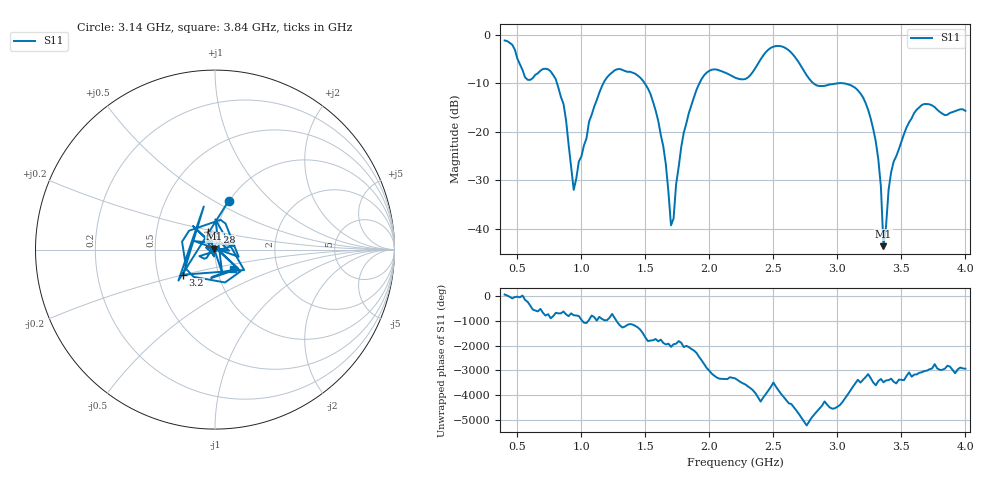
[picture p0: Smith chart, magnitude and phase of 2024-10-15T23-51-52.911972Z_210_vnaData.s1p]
! Created with skrf (http://scikit-rf.org).
# Hz S RI R 50.0
!freq ReS11 ImS11
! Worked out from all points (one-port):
!   181 points, 400 MHz to 4 GHz, reference 50 ohm
!   lowest |S11| = -43.6 dB at 3.36 GHz (marker M1), VSWR 1.01, Z = 49.7 + j0.573 ohm
!   |S11| at or under -10 dB: 809.2 MHz to 1.172 GHz (362.8 MHz wide, 36.6 % of centre); 1.494 GHz to 1.922 GHz (428.5 MHz wide, 25.1 % of centre); 3.037 GHz to end of sweep (the widest 3 of 4)
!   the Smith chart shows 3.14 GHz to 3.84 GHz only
!   S11 on the Smith chart (normalised r, x): 3.14 GHz: 0.99, +0.59; 3.2 GHz: 0.67, -0.20; 3.28 GHz: 0.91, +0.18; 3.84 GHz: 1.19, -0.27
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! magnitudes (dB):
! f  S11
! 400 MHz  -1.2
! 580 MHz  -9.3
! 760 MHz  -7.6
! 860 MHz  -14.3
! 940 MHz  -32.0
! 1.14 GHz  -11.9
! 1.3 GHz  -7.1
! 1.54 GHz  -12.2
! 1.64 GHz  -23.0
! 1.7 GHz  -39.3
! 1.76 GHz  -27.2
! 1.84 GHz  -16.1
! 1.94 GHz  -9.1
! 2.2 GHz  -8.9
! 2.5 GHz  -2.5
! 2.66 GHz  -4.3
! 2.84 GHz  -10.5
! 3.1 GHz  -10.4
! 3.14 GHz  -11.0
! 3.2 GHz  -12.9
! 3.28 GHz  -19.4
! 3.34 GHz  -31.3
! 3.36 GHz  -43.6
! 3.42 GHz  -28.3
! 3.56 GHz  -18.1
! 3.68 GHz  -14.3
! 3.84 GHz  -16.6
! 4 GHz  -15.7
